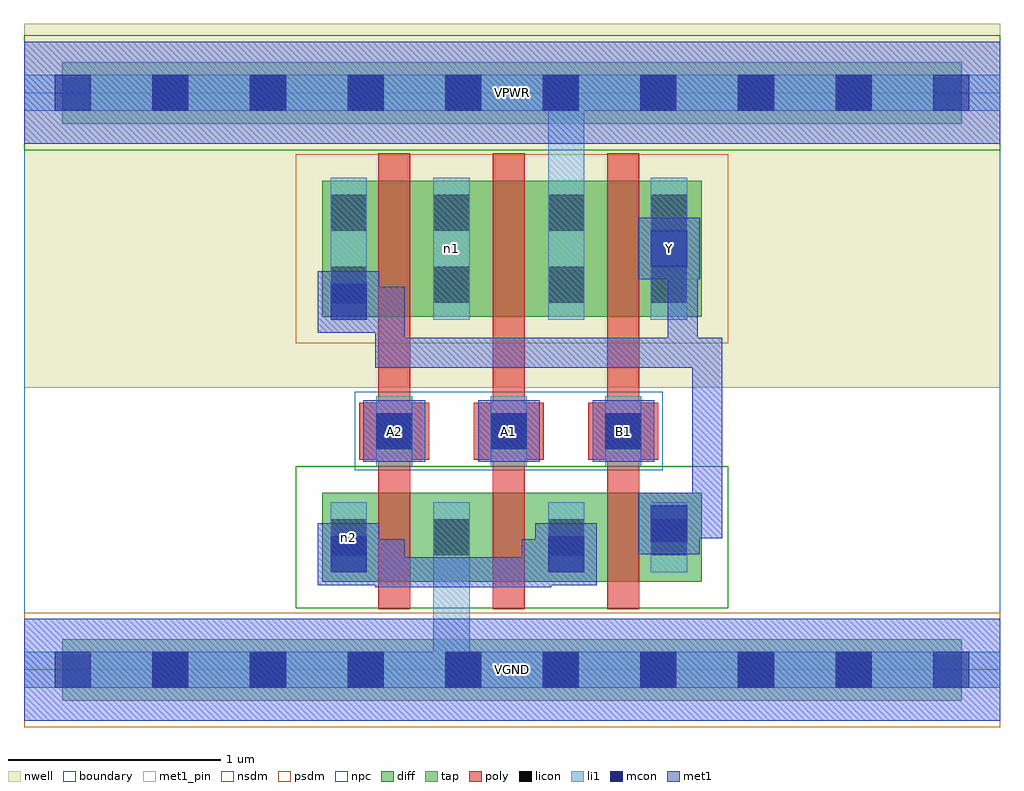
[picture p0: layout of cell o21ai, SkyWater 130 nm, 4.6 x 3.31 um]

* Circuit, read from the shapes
.subckt o21ai A1 A2 B1 VGND VPWR Y n1 n2
XM1 VGND A2 n2 VGND sky130_fd_pr__nfet_01v8 w=0.42 l=0.15
XM2 n2 A1 VGND VGND sky130_fd_pr__nfet_01v8 w=0.42 l=0.15
XM3 Y B1 n2 VGND sky130_fd_pr__nfet_01v8 w=0.42 l=0.15
XM4 n1 A2 Y VPWR sky130_fd_pr__pfet_01v8 w=0.64 l=0.15
XM5 VPWR A1 n1 VPWR sky130_fd_pr__pfet_01v8 w=0.64 l=0.15
XM6 Y B1 VPWR VPWR sky130_fd_pr__pfet_01v8 w=0.64 l=0.15
.ends

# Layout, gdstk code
import gdstk
lib = gdstk.Library(unit=1e-6, precision=1e-09)
def R(c, l, rs):  # rectangles x0, y0, x1, y1
    for r in rs: c.add(gdstk.rectangle(r[:2], r[2:], *l))
def A(c, l, x, y, w, h, nx, ny, dx, dy):  # array of equal rectangles
    R(c, l, [(x+i*dx, y+j*dy, x+i*dx+w, y+j*dy+h) for i in range(nx) for j in range(ny)])
nwell = (64, 20)
diff = (65, 20)
tap = (65, 44)
poly = (66, 20)
licon = (66, 44)
li1 = (67, 20)
mcon = (67, 44)
met1_pin = (68, 16)
met1 = (68, 20)
nsdm = (93, 44)
psdm = (94, 20)
npc = (95, 20)
boundary = (235, 4)

o21ai = lib.new_cell('o21ai')
R(o21ai, nwell, [(0,1.33,4.6,3.045)])
R(o21ai, diff, [(1.405,0.415,3.195,0.835), (1.405,1.665,3.195,2.305)])
R(o21ai, tap, [(0.18,-0.145,4.42,0.145), (0.18,2.575,4.42,2.865)])
A(o21ai, poly, 1.67, 0.285, 0.15, 2.15, 3, 1, 0.54, 0)
A(o21ai, poly, 1.58, 0.99, 0.33, 0.27, 3, 1, 0.54, 0)
A(o21ai, licon, 0.605, -0.085, 0.17, 0.17, 8, 2, 0.46, 2.72)
A(o21ai, licon, 1.66, 1.04, 0.17, 0.17, 3, 1, 0.54, 0)
R(o21ai, licon, [(1.445,0.54,1.615,0.71), (1.93,0.54,2.1,0.71), (2.47,0.54,2.64,0.71), (2.955,0.54,3.125,0.71), (1.445,1.73,1.615,1.9), (1.93,1.73,2.1,1.9), (2.47,1.73,2.64,1.9), (2.955,1.73,3.125,1.9), (1.445,2.07,1.615,2.24), (1.93,2.07,2.1,2.24), (2.47,2.07,2.64,2.24), (2.955,2.07,3.125,2.24)])
A(o21ai, li1, 1.66, 0.96, 0.17, 0.33, 3, 1, 0.54, 0)
R(o21ai, li1, [(0,-0.085,4.6,0.085), (1.93,-0.085,2.1,0.79), (1.445,0.46,1.615,0.79), (1.93,0.46,2.1,0.79), (2.47,0.46,2.64,0.79), (2.955,0.46,3.125,0.79), (1.445,1.65,1.615,2.32), (1.93,1.65,2.1,2.32), (2.47,1.65,2.64,2.32), (2.47,1.65,2.64,2.805), (2.955,1.65,3.125,2.32), (0,2.635,4.6,2.805)])
A(o21ai, mcon, 0.145, -0.085, 0.17, 0.17, 10, 2, 0.46, 2.72)
A(o21ai, mcon, 1.66, 1.04, 0.17, 0.17, 3, 1, 0.54, 0)
R(o21ai, mcon, [(1.445,0.46,1.615,0.63), (2.47,0.46,2.64,0.63), (2.955,0.605,3.125,0.775), (1.445,1.65,1.615,1.82), (2.955,1.9,3.125,2.07)])
A(o21ai, met1_pin, 1.6, 0.98, 0.29, 0.29, 3, 1, 0.54, 0)
R(o21ai, met1_pin, [(0,-0.24,4.6,0.24), (2.895,1.84,3.185,2.13), (0,2.48,4.6,2.96)])
A(o21ai, met1, 1.6, 0.98, 0.29, 0.29, 3, 1, 0.54, 0)
R(o21ai, met1, [(0,-0.24,4.6,0.24), (1.655,0.39,1.795,0.615), (1.655,0.39,2.485,0.53), (2.345,0.39,2.485,0.615), (1.385,0.4,1.675,0.69), (2.41,0.4,2.7,0.69), (1.46,0.475,1.795,0.615), (2.345,0.475,2.625,0.615), (2.895,0.545,3.185,0.835), (2.97,0.62,3.29,0.76), (3.15,0.62,3.29,1.565), (1.655,1.425,3.175,1.565), (1.655,1.425,1.795,1.68), (3.035,1.425,3.175,2.025), (3.035,1.425,3.29,1.565), (1.655,1.54,1.795,1.805), (1.385,1.59,1.675,1.88), (1.46,1.665,1.795,1.805), (2.895,1.84,3.185,2.13), (3.035,1.885,3.175,2.025), (0,2.48,4.6,2.96)])
R(o21ai, nsdm, [(1.28,0.29,3.32,0.96), (0,2.45,4.6,2.99)])
R(o21ai, psdm, [(0,-0.27,4.6,0.27), (1.28,1.54,3.32,2.43)])
R(o21ai, npc, [(1.56,0.94,3.01,1.31)])
R(o21ai, boundary, [(0,0,4.6,2.72)])
o21ai.add(gdstk.Label('n2', (1.53,0.625), layer=67, texttype=5))
o21ai.add(gdstk.Label('n1', (2.015,1.985), layer=67, texttype=5))
o21ai.add(gdstk.Label('A1', (2.285,1.125), layer=68, texttype=5))
o21ai.add(gdstk.Label('A2', (1.745,1.125), layer=68, texttype=5))
o21ai.add(gdstk.Label('B1', (2.825,1.125), layer=68, texttype=5))
o21ai.add(gdstk.Label('Y', (3.04,1.985), layer=68, texttype=5))
o21ai.add(gdstk.Label('VPWR', (2.3,2.72), layer=68, texttype=5))
o21ai.add(gdstk.Label('VGND', (2.3,0), layer=68, texttype=5))
o21ai.add(gdstk.Label('A1', (2.285,1.125), layer=68, texttype=16))
o21ai.add(gdstk.Label('A2', (1.745,1.125), layer=68, texttype=16))
o21ai.add(gdstk.Label('B1', (2.825,1.125), layer=68, texttype=16))
o21ai.add(gdstk.Label('Y', (3.04,1.985), layer=68, texttype=16))
o21ai.add(gdstk.Label('VPWR', (2.3,2.72), layer=68, texttype=16))
o21ai.add(gdstk.Label('VGND', (2.3,0), layer=68, texttype=16))

lib.write_gds('o21ai.gds')
